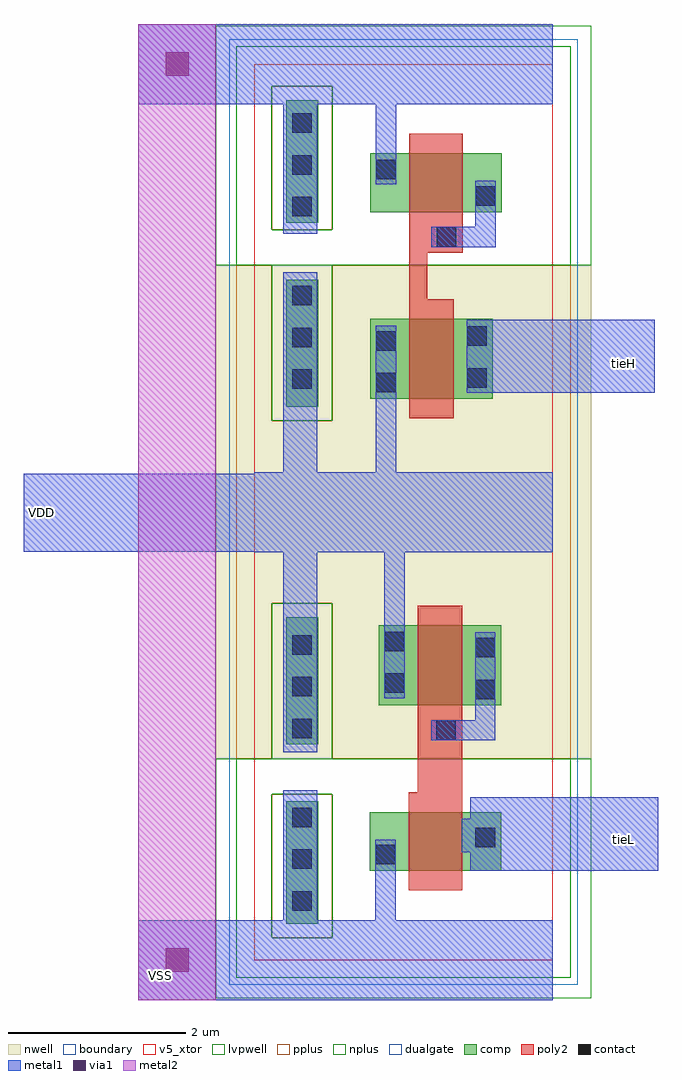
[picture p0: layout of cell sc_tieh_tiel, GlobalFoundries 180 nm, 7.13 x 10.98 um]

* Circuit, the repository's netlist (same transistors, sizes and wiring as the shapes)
* NGSPICE file created from sc_tieh_tiel.ext - technology: gf180mcuD

.subckt gf180mcu_fd_sc_mcu9t5v0__tieh VDD VSS Z VNW VPW
X0 Z a_125_157# VDD VNW pfet_05v0 ad=0.396p pd=2.68u as=0.396p ps=2.68u w=0.9u l=0.5u
X1 a_125_157# a_125_157# VSS VPW nfet_05v0 ad=0.2904p pd=2.2u as=0.2904p ps=2.2u w=0.66u l=0.6u
.ends

.subckt gf180mcu_fd_sc_mcu9t5v0__tiel VDD VSS ZN VNW VPW
X0 ZN a_124_157# VSS VPW nfet_05v0 ad=0.2904p pd=2.2u as=0.2904p ps=2.2u w=0.66u l=0.6u
X1 a_124_157# a_124_157# VDD VNW pfet_05v0 ad=0.396p pd=2.68u as=0.396p ps=2.68u w=0.9u l=0.5u
.ends

.subckt sc_tieh_tiel VDD VSS tieH tieL
Xgf180mcu_fd_sc_mcu9t5v0__tieh_0 VDD VSS tieH VDD VSS gf180mcu_fd_sc_mcu9t5v0__tieh
Xgf180mcu_fd_sc_mcu9t5v0__tiel_0 VDD VSS tieL VDD VSS gf180mcu_fd_sc_mcu9t5v0__tiel
.ends

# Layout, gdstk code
import gdstk
lib = gdstk.Library(unit=1e-6, precision=5e-09)
def R(c, l, rs):  # rectangles x0, y0, x1, y1
    for r in rs: c.add(gdstk.rectangle(r[:2], r[2:], *l))
def A(c, l, x, y, w, h, nx, ny, dx, dy):  # array of equal rectangles
    R(c, l, [(x+i*dx, y+j*dy, x+i*dx+w, y+j*dy+h) for i in range(nx) for j in range(ny)])
def P(c, l, *ps):  # polygons
    for p in ps: c.add(gdstk.Polygon(p, *l))
boundary = (0, 0)
nwell = (21, 0)
comp = (22, 0)
poly2 = (30, 0)
pplus = (31, 0)
nplus = (32, 0)
contact = (33, 0)
metal1 = (34, 0)
via1 = (35, 0)
metal2 = (36, 0)
dualgate = (55, 0)
v5_xtor = (112, 1)
lvpwell = (204, 0)

gf180mcu_fd_sc_mcu9t5v0_ = lib.new_cell('gf180mcu_fd_sc_mcu9t5v0__tieh')
R(gf180mcu_fd_sc_mcu9t5v0_, boundary, [(0,0,2.24,5.04)])
R(gf180mcu_fd_sc_mcu9t5v0_, nwell, [(-0.43,2.265,2.67,5.47)])
R(gf180mcu_fd_sc_mcu9t5v0_, comp, [(0.185,1.005,1.665,1.665), (0.185,2.865,1.565,3.765)])
P(gf180mcu_fd_sc_mcu9t5v0_, poly2, [(0.625,0.785),(0.625,3.985),(1.125,3.985),(1.125,2.645),(0.825,2.645),(0.825,2.125),(1.225,2.125),(1.225,0.785)])
R(gf180mcu_fd_sc_mcu9t5v0_, pplus, [(-0.2,2.265,2.44,5.24)])
R(gf180mcu_fd_sc_mcu9t5v0_, nplus, [(-0.2,-0.2,2.44,2.265)])
R(gf180mcu_fd_sc_mcu9t5v0_, contact, [(0.255,1.075,0.475,1.295), (1.375,1.375,1.595,1.595), (0.935,1.835,1.155,2.055), (1.275,2.95,1.495,3.17), (0.255,3.005,0.475,3.225), (1.275,3.42,1.495,3.64), (0.255,3.475,0.475,3.695)])
R(gf180mcu_fd_sc_mcu9t5v0_, metal1, [(1.27,2.89,1.53,3.7)])
P(gf180mcu_fd_sc_mcu9t5v0_, metal1, [(1.37,1.315),(1.37,1.83),(0.875,1.83),(0.875,2.06),(1.6,2.06),(1.6,1.315)],
  [(0,-0.45),(0,0.45),(0.25,0.45),(0.25,1.355),(0.48,1.355),(0.48,0.45),(2.24,0.45),(2.24,-0.45)],
  [(0.25,2.945),(0.25,4.59),(0,4.59),(0,5.49),(2.24,5.49),(2.24,4.59),(0.48,4.59),(0.48,2.945)])
R(gf180mcu_fd_sc_mcu9t5v0_, dualgate, [(-0.28,-0.28,2.52,5.32)])
R(gf180mcu_fd_sc_mcu9t5v0_, v5_xtor, [(0,0,2.24,5.04)])
R(gf180mcu_fd_sc_mcu9t5v0_, lvpwell, [(-0.43,-0.43,2.67,2.265)])
gf180mcu_fd_sc_mcu9t5v0_.add(gdstk.Label('VDD', (1.12,5.49), layer=34, texttype=10))
gf180mcu_fd_sc_mcu9t5v0_.add(gdstk.Label('VSS', (1.12,-0.45), layer=34, texttype=10))
gf180mcu_fd_sc_mcu9t5v0_.add(gdstk.Label('Z', (1.4,3.08), layer=34, texttype=10))
gf180mcu_fd_sc_mcu9t5v0_.add(gdstk.Label('& Vendor GLOBALFOUNDRIES', (0,2), layer=63, texttype=63))
gf180mcu_fd_sc_mcu9t5v0_.add(gdstk.Label('& Product GF018hv5v_green_sc9', (0,1.5), layer=63, texttype=63))
gf180mcu_fd_sc_mcu9t5v0_.add(gdstk.Label('& Version 2015q2v2', (0,1), layer=63, texttype=63))
gf180mcu_fd_sc_mcu9t5v0_.add(gdstk.Label('& Metric 1.00', (0,0.5), layer=63, texttype=63))
gf180mcu_fd_sc_mcu9t5v0_.add(gdstk.Label('VNW', (0.345,3.92), layer=21, texttype=10))
gf180mcu_fd_sc_mcu9t5v0_.add(gdstk.Label('VPW', (0.34,-0.085), layer=204, texttype=10))

c_gf180mcu_fd_sc_mcu9t5v0_ = lib.new_cell('gf180mcu_fd_sc_mcu9t5v0__tiel')
R(c_gf180mcu_fd_sc_mcu9t5v0_, boundary, [(0,0,2.24,5.04)])
R(c_gf180mcu_fd_sc_mcu9t5v0_, nwell, [(-0.43,2.265,2.67,5.47)])
R(c_gf180mcu_fd_sc_mcu9t5v0_, comp, [(0.18,1.005,1.66,1.665), (0.28,2.865,1.66,3.765)])
P(c_gf180mcu_fd_sc_mcu9t5v0_, poly2, [(0.62,0.785),(0.62,1.885),(0.72,1.885),(0.72,3.985),(1.22,3.985),(1.22,0.785)])
R(c_gf180mcu_fd_sc_mcu9t5v0_, pplus, [(-0.2,2.265,2.44,5.24)])
R(c_gf180mcu_fd_sc_mcu9t5v0_, nplus, [(-0.2,-0.2,2.44,2.265)])
R(c_gf180mcu_fd_sc_mcu9t5v0_, contact, [(0.25,1.075,0.47,1.295), (1.37,1.27,1.59,1.49), (0.93,2.475,1.15,2.695), (1.37,2.935,1.59,3.155), (0.35,3.005,0.57,3.225), (1.37,3.405,1.59,3.625), (0.35,3.475,0.57,3.695)])
R(c_gf180mcu_fd_sc_mcu9t5v0_, metal1, [(1.215,1.21,1.595,1.59)])
P(c_gf180mcu_fd_sc_mcu9t5v0_, metal1, [(0.87,2.47),(0.87,2.7),(1.365,2.7),(1.365,3.685),(1.595,3.685),(1.595,2.47)],
  [(0,-0.45),(0,0.45),(0.245,0.45),(0.245,1.355),(0.475,1.355),(0.475,0.45),(2.24,0.45),(2.24,-0.45)],
  [(0.345,2.945),(0.345,4.59),(0,4.59),(0,5.49),(2.24,5.49),(2.24,4.59),(0.575,4.59),(0.575,2.945)])
R(c_gf180mcu_fd_sc_mcu9t5v0_, dualgate, [(-0.28,-0.28,2.52,5.32)])
R(c_gf180mcu_fd_sc_mcu9t5v0_, v5_xtor, [(0,0,2.24,5.04)])
R(c_gf180mcu_fd_sc_mcu9t5v0_, lvpwell, [(-0.43,-0.43,2.67,2.265)])
c_gf180mcu_fd_sc_mcu9t5v0_.add(gdstk.Label('VDD', (1.12,5.49), layer=34, texttype=10))
c_gf180mcu_fd_sc_mcu9t5v0_.add(gdstk.Label('VSS', (1.12,-0.45), layer=34, texttype=10))
c_gf180mcu_fd_sc_mcu9t5v0_.add(gdstk.Label('ZN', (1.4,1.4), layer=34, texttype=10))
c_gf180mcu_fd_sc_mcu9t5v0_.add(gdstk.Label('& Vendor GLOBALFOUNDRIES', (0,2), layer=63, texttype=63))
c_gf180mcu_fd_sc_mcu9t5v0_.add(gdstk.Label('& Product GF018hv5v_green_sc9', (0,1.5), layer=63, texttype=63))
c_gf180mcu_fd_sc_mcu9t5v0_.add(gdstk.Label('& Version 2015q2v2', (0,1), layer=63, texttype=63))
c_gf180mcu_fd_sc_mcu9t5v0_.add(gdstk.Label('& Metric 1.00', (0,0.5), layer=63, texttype=63))
c_gf180mcu_fd_sc_mcu9t5v0_.add(gdstk.Label('VNW', (0.345,3.92), layer=21, texttype=10))
c_gf180mcu_fd_sc_mcu9t5v0_.add(gdstk.Label('VPW', (0.34,-0.085), layer=204, texttype=10))

c_gf180mcu_fd_sc_mcu9t5v0__ = lib.new_cell('gf180mcu_fd_sc_mcu9t5v0__filltie')
R(c_gf180mcu_fd_sc_mcu9t5v0__, boundary, [(0,0,1.12,5.04)])
R(c_gf180mcu_fd_sc_mcu9t5v0__, nwell, [(-0.43,2.265,1.55,5.47)])
R(c_gf180mcu_fd_sc_mcu9t5v0__, comp, [(0.36,0.41,0.72,1.785), (0.36,2.425,0.72,3.855)])
R(c_gf180mcu_fd_sc_mcu9t5v0__, pplus, [(0.2,0.25,0.88,1.865)])
P(c_gf180mcu_fd_sc_mcu9t5v0__, pplus, [(-0.2,2.265),(-0.2,5.24),(1.32,5.24),(1.32,2.265),(0.88,2.265),(0.88,4.015),(0.2,4.015),(0.2,2.265)])
P(c_gf180mcu_fd_sc_mcu9t5v0__, nplus, [(-0.2,-0.2),(-0.2,2.265),(0.2,2.265),(0.2,4.015),(0.88,4.015),(0.88,1.865),(0.2,1.865),(0.2,0.25),(0.88,0.25),(0.88,4.015),(0.88,2.265),(1.32,2.265),(1.32,-0.2)])
A(c_gf180mcu_fd_sc_mcu9t5v0__, contact, 0.43, 0.555, 0.22, 0.22, 1, 3, 0, 0.47)
A(c_gf180mcu_fd_sc_mcu9t5v0__, contact, 0.43, 2.495, 0.22, 0.22, 1, 3, 0, 0.47)
P(c_gf180mcu_fd_sc_mcu9t5v0__, metal1, [(0,-0.45),(0,0.45),(0.33,0.45),(0.33,1.91),(0.71,1.91),(0.71,0.45),(1.12,0.45),(1.12,-0.45)],
  [(0.33,2.34),(0.33,4.59),(0,4.59),(0,5.49),(1.12,5.49),(1.12,4.59),(0.71,4.59),(0.71,2.34)])
R(c_gf180mcu_fd_sc_mcu9t5v0__, dualgate, [(-0.28,-0.28,1.4,5.32)])
R(c_gf180mcu_fd_sc_mcu9t5v0__, v5_xtor, [(0,0,1.12,5.04)])
R(c_gf180mcu_fd_sc_mcu9t5v0__, lvpwell, [(-0.43,-0.43,1.55,2.265)])
c_gf180mcu_fd_sc_mcu9t5v0__.add(gdstk.Label('VSS', (0.56,-0.45), layer=34, texttype=10))
c_gf180mcu_fd_sc_mcu9t5v0__.add(gdstk.Label('VDD', (0.56,5.49), layer=34, texttype=10))
c_gf180mcu_fd_sc_mcu9t5v0__.add(gdstk.Label('& Vendor GLOBALFOUNDRIES', (0,2), layer=63, texttype=63))
c_gf180mcu_fd_sc_mcu9t5v0__.add(gdstk.Label('& Product GF018hv5v_green_sc9', (0,1.5), layer=63, texttype=63))
c_gf180mcu_fd_sc_mcu9t5v0__.add(gdstk.Label('& Version 2015q2v2', (0,1), layer=63, texttype=63))
c_gf180mcu_fd_sc_mcu9t5v0__.add(gdstk.Label('& Metric 1.00', (0,0.5), layer=63, texttype=63))

via_dev_3 = lib.new_cell('via_dev$3')
R(via_dev_3, metal1, [(0,0,0.875,0.9)])
R(via_dev_3, via1, [(0.31,0.32,0.57,0.58)])
R(via_dev_3, metal2, [(0,0,0.875,0.9)])

sc_tieh_tiel = lib.new_cell('sc_tieh_tiel')
R(sc_tieh_tiel, metal1, [(1984.54,2576.91,1989.205,2577.81), (1988.275,2578.365,1990.39,2579.19), (1983.255,2581.955,1989.205,2582.83), (1988.235,2583.74,1990.35,2584.565), (1984.54,2586.99,1989.205,2587.89)])
R(sc_tieh_tiel, metal2, [(1984.54,2576.91,1985.415,2587.89)])
sc_tieh_tiel.add(gdstk.Reference(gf180mcu_fd_sc_mcu9t5v0_, (1986.965,2587.44), x_reflection=True))
sc_tieh_tiel.add(gdstk.Reference(c_gf180mcu_fd_sc_mcu9t5v0_, (1986.965,2577.36)))
sc_tieh_tiel.add(gdstk.Reference(c_gf180mcu_fd_sc_mcu9t5v0__, (1985.845,2587.44), x_reflection=True))
sc_tieh_tiel.add(gdstk.Reference(c_gf180mcu_fd_sc_mcu9t5v0__, (1985.845,2577.36)))
sc_tieh_tiel.add(gdstk.Reference(via_dev_3, (1984.54,2586.99)))
sc_tieh_tiel.add(gdstk.Reference(via_dev_3, (1984.54,2576.91)))
sc_tieh_tiel.add(gdstk.Label('VDD', (1983.45,2582.395), layer=34, texttype=10))
sc_tieh_tiel.add(gdstk.Label('VSS', (1984.79,2577.19), layer=34, texttype=10))
sc_tieh_tiel.add(gdstk.Label('tieH', (1989.995,2584.075), layer=34, texttype=10))
sc_tieh_tiel.add(gdstk.Label('tieL', (1989.995,2578.72), layer=34, texttype=10))

lib.write_gds('sc_tieh_tiel.gds')
